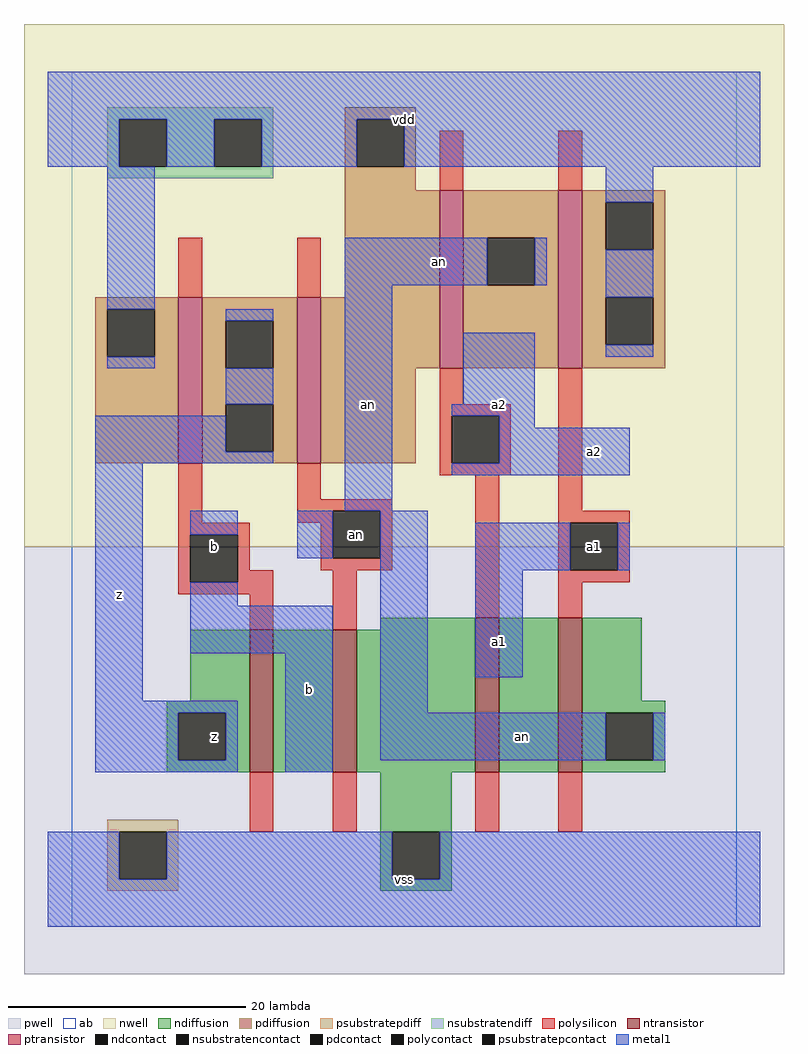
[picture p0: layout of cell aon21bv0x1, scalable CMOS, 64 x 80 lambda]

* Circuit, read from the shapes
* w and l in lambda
.subckt aon21bv0x1 a1 a2 an b vdd vss z
M1 n1 b z vss nfet w=12 l=2
M2 vss an n1 vss nfet w=12 l=2
M3 n2 a2 vss vss nfet w=13 l=2
M4 an a1 n2 vss nfet w=13 l=2
M5 z b vdd vdd pfet w=14 l=2
M6 vdd an z vdd pfet w=14 l=2
M7 an a2 vdd vdd pfet w=15 l=2
M8 vdd a1 an vdd pfet w=15 l=2
.ends

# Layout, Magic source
magic
tech scmos
<< ab >>
rect 0 0 56 72
<< pwell >>
rect -4 -4 60 32
<< nwell >>
rect -4 32 60 76
<< polysilicon >>
rect 31 62 33 67
rect 41 62 43 67
rect 9 53 11 58
rect 19 53 21 58
rect 31 44 33 47
rect 31 43 37 44
rect 31 39 32 43
rect 36 39 37 43
rect 9 34 11 39
rect 19 36 21 39
rect 31 38 37 39
rect 19 35 27 36
rect 19 34 22 35
rect 9 33 15 34
rect 9 29 10 33
rect 14 30 15 33
rect 21 31 22 34
rect 26 31 27 35
rect 21 30 27 31
rect 14 29 17 30
rect 9 28 17 29
rect 15 25 17 28
rect 22 25 24 30
rect 34 26 36 38
rect 41 35 43 47
rect 41 34 47 35
rect 41 30 42 34
rect 46 30 47 34
rect 41 29 47 30
rect 41 26 43 29
rect 15 8 17 13
rect 22 8 24 13
rect 34 8 36 13
rect 41 8 43 13
<< ndiffusion >>
rect 26 25 34 26
rect 10 19 15 25
rect 8 18 15 19
rect 8 14 9 18
rect 13 14 15 18
rect 8 13 15 14
rect 17 13 22 25
rect 24 13 34 25
rect 36 13 41 26
rect 43 19 48 26
rect 43 18 50 19
rect 43 14 45 18
rect 49 14 50 18
rect 43 13 50 14
rect 26 8 32 13
rect 26 4 27 8
rect 31 4 32 8
rect 26 3 32 4
<< pdiffusion >>
rect 23 68 29 69
rect 23 64 24 68
rect 28 64 29 68
rect 23 62 29 64
rect 23 53 31 62
rect 2 52 9 53
rect 2 48 3 52
rect 7 48 9 52
rect 2 39 9 48
rect 11 51 19 53
rect 11 47 13 51
rect 17 47 19 51
rect 11 44 19 47
rect 11 40 13 44
rect 17 40 19 44
rect 11 39 19 40
rect 21 47 31 53
rect 33 58 41 62
rect 33 54 35 58
rect 39 54 41 58
rect 33 47 41 54
rect 43 61 50 62
rect 43 57 45 61
rect 49 57 50 61
rect 43 53 50 57
rect 43 49 45 53
rect 49 49 50 53
rect 43 47 50 49
rect 21 39 29 47
<< metal1 >>
rect -2 68 58 72
rect -2 64 4 68
rect 8 64 12 68
rect 16 64 24 68
rect 28 64 58 68
rect 3 52 7 64
rect 45 61 49 64
rect 23 54 35 58
rect 39 54 40 58
rect 3 47 7 48
rect 13 51 17 52
rect 13 44 17 47
rect 2 40 13 43
rect 2 39 17 40
rect 2 19 6 39
rect 23 35 27 54
rect 45 53 49 57
rect 33 44 39 50
rect 45 48 49 49
rect 32 43 39 44
rect 36 42 39 43
rect 36 39 47 42
rect 32 38 47 39
rect 10 33 14 35
rect 19 31 22 35
rect 10 27 14 29
rect 10 23 22 27
rect 2 18 14 19
rect 2 14 9 18
rect 13 14 14 18
rect 2 13 14 14
rect 18 13 22 23
rect 26 18 30 35
rect 34 30 42 34
rect 46 30 47 34
rect 34 21 38 30
rect 26 14 45 18
rect 49 14 50 18
rect -2 4 4 8
rect 8 4 27 8
rect 31 4 58 8
rect -2 0 58 4
<< ntransistor >>
rect 15 13 17 25
rect 22 13 24 25
rect 34 13 36 26
rect 41 13 43 26
<< ptransistor >>
rect 9 39 11 53
rect 19 39 21 53
rect 31 47 33 62
rect 41 47 43 62
<< polycontact >>
rect 32 39 36 43
rect 10 29 14 33
rect 22 31 26 35
rect 42 30 46 34
<< ndcontact >>
rect 9 14 13 18
rect 45 14 49 18
rect 27 4 31 8
<< pdcontact >>
rect 24 64 28 68
rect 3 48 7 52
rect 13 47 17 51
rect 13 40 17 44
rect 35 54 39 58
rect 45 57 49 61
rect 45 49 49 53
<< psubstratepcontact >>
rect 4 4 8 8
<< nsubstratencontact >>
rect 4 64 8 68
rect 12 64 16 68
<< psubstratepdiff >>
rect 3 8 9 9
rect 3 4 4 8
rect 8 4 9 8
rect 3 3 9 4
<< nsubstratendiff >>
rect 3 68 17 69
rect 3 64 4 68
rect 8 64 12 68
rect 16 64 17 68
rect 3 63 17 64
<< labels >>
rlabel polycontact 24 33 24 33 6 an
rlabel metal1 4 28 4 28 6 z
rlabel metal1 20 20 20 20 6 b
rlabel ndcontact 12 16 12 16 6 z
rlabel polycontact 12 32 12 32 6 b
rlabel metal1 25 44 25 44 6 an
rlabel metal1 28 4 28 4 6 vss
rlabel metal1 36 24 36 24 6 a1
rlabel metal1 36 44 36 44 6 a2
rlabel metal1 31 56 31 56 6 an
rlabel metal1 28 68 28 68 6 vdd
rlabel metal1 38 16 38 16 6 an
rlabel polycontact 44 32 44 32 6 a1
rlabel metal1 44 40 44 40 6 a2
<< end >>
